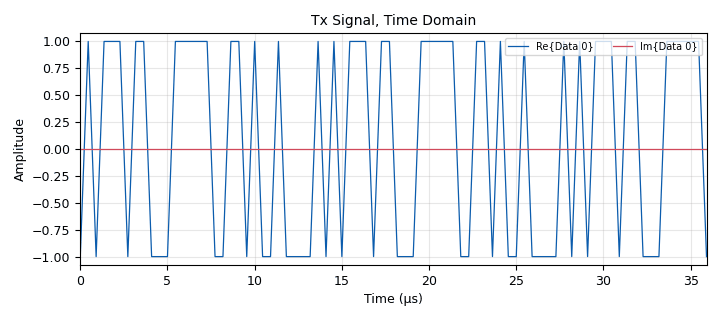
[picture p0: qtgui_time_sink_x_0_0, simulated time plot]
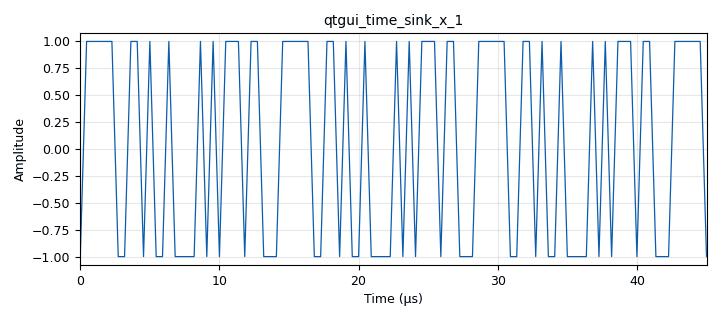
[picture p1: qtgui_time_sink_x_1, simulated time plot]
options:
  parameters:
    generate_options: qt_gui
    id: pluto_simple_tx_rx
    output_language: python
    title: 'Example: Simple Transmit and Receive'
  states: {}

blocks:
- name: freq
  id: variable
  parameters:
    value: int(2e9)
  states: {}
- name: samp_rate
  id: variable
  parameters:
    value: int(2.2e6)
  states: {}
- name: analog_const_source_x_0
  id: analog_const_source_x
  parameters:
    const: '0'
    type: float
  states: {}
- name: blocks_float_to_complex_0
  id: blocks_float_to_complex
  parameters: {}
  states: {}
- name: digital_glfsr_source_x_0
  id: digital_glfsr_source_x
  parameters:
    degree: '5'
    mask: '0'
    repeat: 'True'
    seed: '1'
    type: float
  states: {}
- name: digital_pn_correlator_cc_1
  id: digital_pn_correlator_cc
  parameters:
    degree: '5'
    mask: '0'
    seed: '1'
  states: {}
- name: iio_pluto_sink_0
  id: iio_pluto_sink
  parameters:
    attenuation1: '20.0'
    auto_filter: 'True'
    bandwidth: '2000000'
    buffer_size: '32768'
    cyclic: 'False'
    frequency: '1200000000'
    samplerate: samp_rate
    uri: ip:192.168.2.1
  states: {}
- name: iio_pluto_source_0
  id: iio_pluto_source
  parameters:
    auto_filter: 'True'
    bandwidth: '20000000'
    bbdc: 'True'
    buffer_size: '32768'
    frequency: '1200000000'
    gain1: '''fast_attack'''
    manual_gain1: '90'
    quadrature: 'True'
    rfdc: 'True'
    samplerate: samp_rate
    uri: ip:192.168.2.1
  states: {}
- name: qtgui_time_sink_x_0
  id: qtgui_time_sink_x
  parameters:
    grid: 'True'
    gui_hint: 0,1,1,1
    name: Rx Signal, Time Domain
    size: '100'
    srate: samp_rate
    type: complex
    update_time: '0.1'
  states: {}
- name: qtgui_time_sink_x_0_0
  id: qtgui_time_sink_x
  parameters:
    grid: 'True'
    gui_hint: 0,0,1,1
    name: Tx Signal, Time Domain
    size: '80'
    srate: samp_rate
    type: complex
    update_time: '0.1'
  states: {}
- name: qtgui_time_sink_x_1
  id: qtgui_time_sink_x
  parameters:
    gui_hint: 1,0,1,1
    size: '100'
    srate: samp_rate
    type: float
  states: {}
- name: qtgui_time_sink_x_2
  id: qtgui_time_sink_x
  parameters:
    gui_hint: 1,1,1,1
    size: '100'
    srate: samp_rate
    type: complex
  states: {}

connections:
- [analog_const_source_x_0, '0', blocks_float_to_complex_0, '1']
- [blocks_float_to_complex_0, '0', iio_pluto_sink_0, '0']
- [blocks_float_to_complex_0, '0', qtgui_time_sink_x_0_0, '0']
- [digital_glfsr_source_x_0, '0', blocks_float_to_complex_0, '0']
- [digital_glfsr_source_x_0, '0', qtgui_time_sink_x_1, '0']
- [digital_pn_correlator_cc_1, '0', qtgui_time_sink_x_2, '0']
- [iio_pluto_source_0, '0', digital_pn_correlator_cc_1, '0']
- [iio_pluto_source_0, '0', qtgui_time_sink_x_0, '0']

metadata:
  file_format: 1
